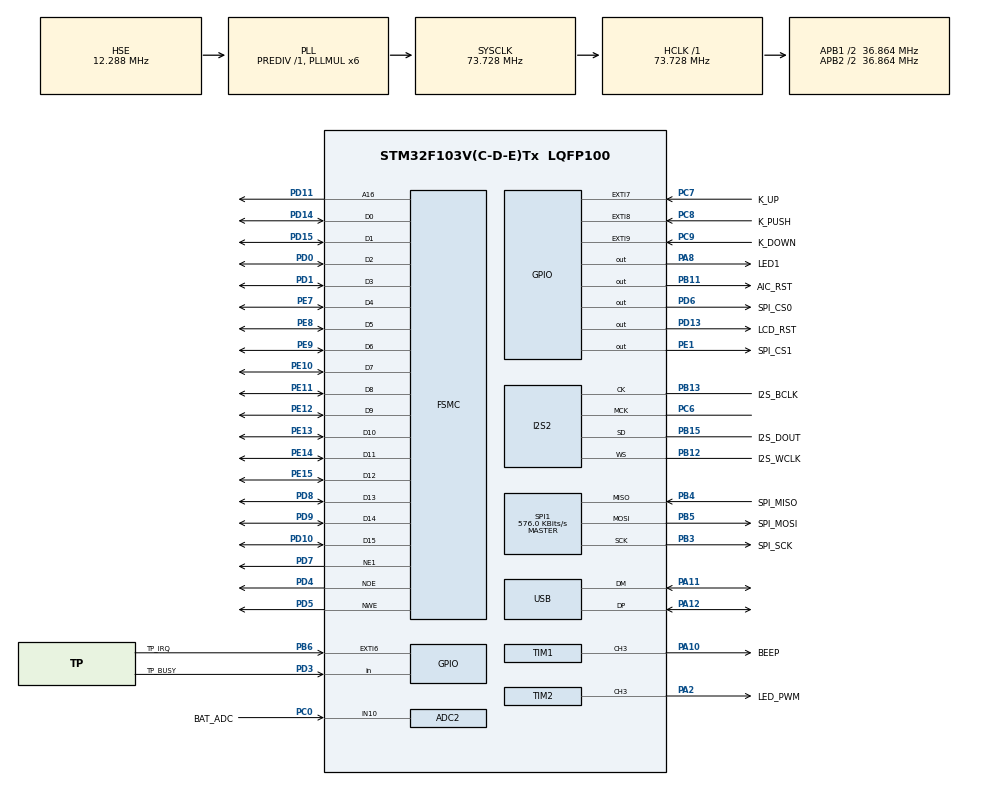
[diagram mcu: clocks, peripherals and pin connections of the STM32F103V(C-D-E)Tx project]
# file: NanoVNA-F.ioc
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ADC1.Channel-4\#ChannelRegularConversion=ADC_CHANNEL_VREFINT
ADC1.NbrOfConversionFlag=1
ADC1.Rank-4\#ChannelRegularConversion=1
ADC1.SamplingTime-4\#ChannelRegularConversion=ADC_SAMPLETIME_7CYCLES_5
ADC1.master=1
ADC2.Channel-0\#ChannelRegularConversion=ADC_CHANNEL_10
ADC2.NbrOfConversionFlag=1
ADC2.Rank-0\#ChannelRegularConversion=1
ADC2.SamplingTime-0\#ChannelRegularConversion=ADC_SAMPLETIME_7CYCLES_5
Dma.Request0=SPI2_RX
Dma.Request1=TIM1_CH3
Dma.Request2=SPI1_TX
Dma.Request3=SPI1_RX
Dma.SPI1_RX.3.Direction=DMA_PERIPH_TO_MEMORY
Dma.SPI1_RX.3.Instance=DMA1_Channel2
Dma.SPI1_RX.3.MemDataAlignment=DMA_MDATAALIGN_BYTE
Dma.SPI1_RX.3.MemInc=DMA_MINC_ENABLE
Dma.SPI1_RX.3.Mode=DMA_NORMAL
Dma.SPI1_RX.3.PeriphDataAlignment=DMA_PDATAALIGN_BYTE
Dma.SPI1_RX.3.PeriphInc=DMA_PINC_DISABLE
Dma.SPI1_RX.3.Priority=DMA_PRIORITY_MEDIUM
Dma.SPI1_TX.2.Direction=DMA_MEMORY_TO_PERIPH
Dma.SPI1_TX.2.Instance=DMA1_Channel3
Dma.SPI1_TX.2.MemDataAlignment=DMA_MDATAALIGN_BYTE
Dma.SPI1_TX.2.MemInc=DMA_MINC_ENABLE
Dma.SPI1_TX.2.Mode=DMA_NORMAL
Dma.SPI1_TX.2.PeriphDataAlignment=DMA_PDATAALIGN_BYTE
Dma.SPI1_TX.2.PeriphInc=DMA_PINC_DISABLE
Dma.SPI1_TX.2.Priority=DMA_PRIORITY_MEDIUM
Dma.SPI2_RX.0.Direction=DMA_PERIPH_TO_MEMORY
Dma.SPI2_RX.0.Instance=DMA1_Channel4
Dma.SPI2_RX.0.MemDataAlignment=DMA_MDATAALIGN_HALFWORD
Dma.SPI2_RX.0.MemInc=DMA_MINC_ENABLE
Dma.SPI2_RX.0.Mode=DMA_CIRCULAR
Dma.SPI2_RX.0.PeriphDataAlignment=DMA_PDATAALIGN_HALFWORD
Dma.SPI2_RX.0.PeriphInc=DMA_PINC_DISABLE
Dma.SPI2_RX.0.Priority=DMA_PRIORITY_LOW
Dma.TIM1_CH3.1.Direction=DMA_MEMORY_TO_PERIPH
Dma.TIM1_CH3.1.Instance=DMA1_Channel6
Dma.TIM1_CH3.1.MemDataAlignment=DMA_MDATAALIGN_BYTE
Dma.TIM1_CH3.1.MemInc=DMA_MINC_ENABLE
Dma.TIM1_CH3.1.Mode=DMA_NORMAL
Dma.TIM1_CH3.1.PeriphDataAlignment=DMA_PDATAALIGN_BYTE
Dma.TIM1_CH3.1.PeriphInc=DMA_PINC_DISABLE
Dma.TIM1_CH3.1.Priority=DMA_PRIORITY_LOW
FATFS._CODE_PAGE=437
FATFS._USE_LFN=2
FREERTOS.Tasks01=Task001,0,512,StartTask001,Default,NULL,Dynamic,NULL,NULL;TaskCmd,0,512,StartTaskCmd,Default,NULL,Dynamic,NULL,NULL
FREERTOS.configGENERATE_RUN_TIME_STATS=1
FREERTOS.configTOTAL_HEAP_SIZE=12288
FREERTOS.configUSE_RECURSIVE_MUTEXES=1
FREERTOS.configUSE_STATS_FORMATTING_FUNCTIONS=1
FREERTOS.configUSE_TRACE_FACILITY=1
FSMC.AddressSetupTime1=2
FSMC.BusTurnAroundDuration1=0
FSMC.DataSetupTime1=5
I2S2.AudioFreq=I2S_AUDIOFREQ_48K
I2S2.ErrorAudioFreq=0.0 %
I2S2.Instance=SPI$Index
I2S2.MCLKOutput=I2S_MCLKOUTPUT_ENABLE
I2S2.RealAudioFreq=48.0 KHz
I2S2.VirtualMode=I2S_MODE_MASTER
Mcu.Family=STM32F1
Mcu.Name=STM32F103V(C-D-E)Tx
Mcu.Package=LQFP100
NVIC.DMA1_Channel2_IRQn=true\:5\:0\:false\:false\:true\:true\:false
NVIC.DMA1_Channel3_IRQn=true\:5\:0\:false\:false\:true\:true\:false
NVIC.DMA1_Channel4_IRQn=true\:5\:0\:false\:false\:true\:true\:false
NVIC.DMA1_Channel6_IRQn=true\:5\:0\:false\:false\:true\:true\:false
NVIC.EXTI9_5_IRQn=true\:5\:0\:false\:false\:true\:true\:true
NVIC.PriorityGroup=NVIC_PRIORITYGROUP_4
NVIC.TIM4_IRQn=true\:0\:0\:false\:false\:true\:false\:false
NVIC.TimeBase=TIM4_IRQn
NVIC.TimeBaseIP=TIM4
NVIC.USB_LP_CAN1_RX0_IRQn=true\:5\:0\:false\:false\:true\:true\:false
OSC_IN.Mode=HSE-External-Oscillator
OSC_IN.Signal=RCC_OSC_IN
OSC_OUT.Mode=HSE-External-Oscillator
OSC_OUT.Signal=RCC_OSC_OUT
PA10.GPIO_Label=BEEP
PA10.Signal=S_TIM1_CH3
PA11.Mode=Device
PA11.Signal=USB_DM
PA12.Mode=Device
PA12.Signal=USB_DP
PA13.Mode=Serial_Wire
PA13.Signal=SYS_JTMS-SWDIO
PA14.Mode=Serial_Wire
PA14.Signal=SYS_JTCK-SWCLK
PA2.GPIO_Label=LED_PWM
PA2.Signal=S_TIM2_CH3
PA8.GPIO_Label=LED1
PA8.Signal=GPIO_Output
PB11.GPIO_Label=AIC_RST
PB11.Signal=GPIO_Output
PB12.GPIO_Label=I2S_WCLK
PB12.Mode=Half_Duplex_Master_RX
PB12.Signal=I2S2_WS
PB13.GPIO_Label=I2S_BCLK
PB13.Mode=Half_Duplex_Master_RX
PB13.Signal=I2S2_CK
PB15.GPIO_Label=I2S_DOUT
PB15.Mode=Half_Duplex_Master_RX
PB15.Signal=I2S2_SD
PB3.GPIO_Label=SPI_SCK
PB3.Mode=Full_Duplex_Master
PB3.Signal=SPI1_SCK
PB4.GPIO_Label=SPI_MISO
PB4.Mode=Full_Duplex_Master
PB4.Signal=SPI1_MISO
PB5.GPIO_Label=SPI_MOSI
PB5.Mode=Full_Duplex_Master
PB5.Signal=SPI1_MOSI
PB6.GPIO_Label=TP_IRQ
PB6.GPIO_ModeDefaultEXTI=GPIO_MODE_IT_FALLING
PB6.GPIO_PuPd=GPIO_PULLUP
PB6.Signal=GPXTI6
PC0.GPIO_Label=BAT_ADC
PC0.Signal=ADCx_IN10
PC6.Mode=Master_Clock_Activated
PC6.Signal=I2S2_MCK
PC7.GPIO_Label=K_UP
PC7.GPIO_PuPd=GPIO_PULLDOWN
PC7.Signal=GPXTI7
PC8.GPIO_Label=K_PUSH
PC8.GPIO_PuPd=GPIO_PULLDOWN
PC8.Signal=GPXTI8
PC9.GPIO_Label=K_DOWN
PC9.GPIO_PuPd=GPIO_PULLDOWN
PC9.Signal=GPXTI9
PD0.Mode=16b-d1
PD0.Signal=FSMC_D2
PD1.Mode=16b-d1
PD1.Signal=FSMC_D3
PD10.Mode=16b-d1
PD10.Signal=FSMC_D15
PD11.Mode=A16_1
PD11.Signal=FSMC_A16
PD13.GPIO_Label=LCD_RST
PD13.Signal=GPIO_Output
PD14.Mode=16b-d1
PD14.Signal=FSMC_D0
PD15.Mode=16b-d1
PD15.Signal=FSMC_D1
PD3.GPIO_Label=TP_BUSY
PD3.Signal=GPIO_Input
PD4.Mode=Lcd1
PD4.Signal=FSMC_NOE
PD5.Mode=Lcd1
PD5.Signal=FSMC_NWE
PD6.GPIO_Label=SPI_CS0
PD6.PinState=GPIO_PIN_SET
PD6.Signal=GPIO_Output
PD7.Mode=NorPsramChipSelect1_1
PD7.Signal=FSMC_NE1
PD8.Mode=16b-d1
PD8.Signal=FSMC_D13
PD9.Mode=16b-d1
PD9.Signal=FSMC_D14
PE1.GPIO_Label=SPI_CS1
PE1.PinState=GPIO_PIN_SET
PE1.Signal=GPIO_Output
PE10.Mode=16b-d1
PE10.Signal=FSMC_D7
PE11.Mode=16b-d1
PE11.Signal=FSMC_D8
PE12.Mode=16b-d1
PE12.Signal=FSMC_D9
PE13.Mode=16b-d1
PE13.Signal=FSMC_D10
PE14.Mode=16b-d1
PE14.Signal=FSMC_D11
PE15.Mode=16b-d1
PE15.Signal=FSMC_D12
PE7.Mode=16b-d1
PE7.Signal=FSMC_D4
PE8.Mode=16b-d1
PE8.Signal=FSMC_D5
PE9.Mode=16b-d1
PE9.Signal=FSMC_D6
ProjectManager.HeapSize=0x1000
ProjectManager.StackSize=0x1000
ProjectManager.TargetToolchain=MDK-ARM V5
RCC.ADCPresc=RCC_ADCPCLK2_DIV8
RCC.AHBFreq_Value=73728000
RCC.APB1CLKDivider=RCC_HCLK_DIV2
RCC.APB1Freq_Value=36864000
RCC.APB1TimFreq_Value=73728000
RCC.APB2CLKDivider=RCC_HCLK_DIV2
RCC.APB2Freq_Value=36864000
RCC.APB2TimFreq_Value=73728000
RCC.HCLKFreq_Value=73728000
RCC.HSE_Timout=5000
RCC.HSE_VALUE=12288000
RCC.PLLMUL=RCC_PLL_MUL6
RCC.SYSCLKFreq_VALUE=73728000
RCC.SYSCLKSource=RCC_SYSCLKSOURCE_PLLCLK
RCC.USBFreq_Value=49152000
RCC.USBPrescaler=RCC_USBCLKSOURCE_PLL_DIV1_5
SH.ADCx_IN10.0=ADC1_IN10
SH.ADCx_IN10.1=ADC2_IN10,IN10
SH.S_TIM1_CH3.0=TIM1_CH3,PWM Generation3 CH3
SH.S_TIM2_CH3.0=TIM2_CH3,PWM Generation3 CH3
SPI1.BaudRatePrescaler=SPI_BAUDRATEPRESCALER_64
SPI1.CRCCalculation=SPI_CRCCALCULATION_DISABLE
SPI1.CalculateBaudRate=576.0 KBits/s
SPI1.Direction=SPI_DIRECTION_2LINES
SPI1.Mode=SPI_MODE_MASTER
SPI1.VirtualType=VM_MASTER
TIM1.Channel-PWM\ Generation3\ CH3=TIM_CHANNEL_3
TIM1.Period=255
TIM1.Prescaler=35
TIM1.Pulse-PWM\ Generation3\ CH3=127
TIM2.Channel-PWM\ Generation3\ CH3=TIM_CHANNEL_3
TIM2.Period=1999
TIM2.Prescaler=71
TIM2.Pulse-PWM\ Generation3\ CH3=1000
USB.ep0_mps=DEP0CTL_MPS_64
USB_DEVICE.CLASS_NAME_FS=CDC
USB_DEVICE.MANUFACTURER_STRING=SYSJOINT
USB_DEVICE.PRODUCT_STRING_CDC_FS=NanoVNA-F Virtual COMPort
USB_DEVICE.VirtualMode=Cdc
USB_DEVICE.VirtualModeFS=Cdc_FS
VP_ADC1_Vref_Input.Mode=IN-Vrefint
VP_FATFS_VS_Generic.Mode=User_defined
VP_FREERTOS_VS_ENABLE.Mode=Enabled
VP_SYS_VS_tim4.Mode=TIM4
VP_USB_DEVICE_VS_USB_DEVICE_CDC_FS.Mode=CDC_FS
board=custom

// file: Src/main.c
/**
  ******************************************************************************
  * @file           : main.c
  * @brief          : Main program body
  ******************************************************************************
  * This notice applies to any and all portions of this file
  * that are not between comment pairs USER CODE BEGIN and
  * USER CODE END. Other portions of this file, whether
  * inserted by the user or by software development tools
  * are owned by their respective copyright owners.
  *
  * Copyright (c) 2019 STMicroelectronics International N.V.
  * All rights reserved.
  *
  * Redistribution and use in source and binary forms, with or without
  * modification, are permitted, provided that the following conditions are met:
  *
  * 1. Redistribution of source code must retain the above copyright notice,
  *    this list of conditions and the following disclaimer.
  * 2. Redistributions in binary form must reproduce the above copyright notice,
  *    this list of conditions and the following disclaimer in the documentation
  *    and/or other materials provided with the distribution.
  * 3. Neither the name of STMicroelectronics nor the names of other
  *    contributors to this software may be used to endorse or promote products
  *    derived from this software without specific written permission.
  * 4. This software, including modifications and/or derivative works of this
  *    software, must execute solely and exclusively on microcontroller or
  *    microprocessor devices manufactured by or for STMicroelectronics.
  * 5. Redistribution and use of this software other than as permitted under
  *    this license is void and will automatically terminate your rights under
  *    this license.
  *
  * THIS SOFTWARE IS PROVIDED BY STMICROELECTRONICS AND CONTRIBUTORS "AS IS"
  * AND ANY EXPRESS, IMPLIED OR STATUTORY WARRANTIES, INCLUDING, BUT NOT
  * LIMITED TO, THE IMPLIED WARRANTIES OF MERCHANTABILITY, FITNESS FOR A
  * PARTICULAR PURPOSE AND NON-INFRINGEMENT OF THIRD PARTY INTELLECTUAL PROPERTY
  * RIGHTS ARE DISCLAIMED TO THE FULLEST EXTENT PERMITTED BY LAW. IN NO EVENT
  * SHALL STMICROELECTRONICS OR CONTRIBUTORS BE LIABLE FOR ANY DIRECT, INDIRECT,
  * INCIDENTAL, SPECIAL, EXEMPLARY, OR CONSEQUENTIAL DAMAGES (INCLUDING, BUT NOT
  * LIMITED TO, PROCUREMENT OF SUBSTITUTE GOODS OR SERVICES; LOSS OF USE, DATA,
  * OR PROFITS; OR BUSINESS INTERRUPTION) HOWEVER CAUSED AND ON ANY THEORY OF
  * LIABILITY, WHETHER IN CONTRACT, STRICT LIABILITY, OR TORT (INCLUDING
  * NEGLIGENCE OR OTHERWISE) ARISING IN ANY WAY OUT OF THE USE OF THIS SOFTWARE,
  * EVEN IF ADVISED OF THE POSSIBILITY OF SUCH DAMAGE.
  *
  ******************************************************************************
  */
#include "main.h"
#include "stm32f1xx_hal.h"
#include "cmsis_os.h"
#include "fatfs.h"
#include "usb_device.h"

/* USER CODE BEGIN Includes */
#include "board.h"
/* USER CODE END Includes */

ADC_HandleTypeDef hadc1;
ADC_HandleTypeDef hadc2;

I2S_HandleTypeDef hi2s2;
DMA_HandleTypeDef hdma_spi2_rx;

SPI_HandleTypeDef hspi1;
DMA_HandleTypeDef hdma_spi1_tx;
DMA_HandleTypeDef hdma_spi1_rx;

TIM_HandleTypeDef htim1;
TIM_HandleTypeDef htim2;
DMA_HandleTypeDef hdma_tim1_ch3;

SRAM_HandleTypeDef hsram1;

osThreadId Task001Handle;
osThreadId TaskCmdHandle;

/* USER CODE BEGIN PV */
/* Private variables ---------------------------------------------------------*/
FIL fil;
UINT size;
char callsign[11];
/* USER CODE END PV */

void SystemClock_Config(void);
static void MX_GPIO_Init(void);
static void MX_DMA_Init(void);
static void MX_FSMC_Init(void);
static void MX_I2S2_Init(void);
static void MX_TIM1_Init(void);
static void MX_SPI1_Init(void);
static void MX_TIM2_Init(void);
static void MX_ADC2_Init(void);
static void MX_ADC1_Init(void);
void StartTask001(void const * argument);
void StartTaskCmd(void const * argument);

void HAL_TIM_MspPostInit(TIM_HandleTypeDef *htim);

/* USER CODE BEGIN PFP */
/* Private function prototypes -----------------------------------------------*/
extern void app_init(void);
extern void app_loop(void);
extern void cmd_init(void);
extern void cmd_loop(void);

static void MY_USBDP_IO_Init(void)
{
  GPIO_InitTypeDef GPIO_InitStruct;

  HAL_GPIO_WritePin(GPIOC, GPIO_PIN_10, GPIO_PIN_SET);

  GPIO_InitStruct.Pin = GPIO_PIN_10;
  GPIO_InitStruct.Mode = GPIO_MODE_OUTPUT_PP;
  GPIO_InitStruct.Pull = GPIO_PULLUP;
  GPIO_InitStruct.Speed = GPIO_SPEED_FREQ_HIGH;
  HAL_GPIO_Init(GPIOC, &GPIO_InitStruct);
}

static void MX_SPI1_Init_SF(void)
{

  /* SPI1 parameter configuration*/
  hspi1.Instance = SPI1;
  hspi1.Init.Mode = SPI_MODE_MASTER;
  hspi1.Init.Direction = SPI_DIRECTION_2LINES;
  hspi1.Init.DataSize = SPI_DATASIZE_8BIT;
  hspi1.Init.CLKPolarity = SPI_POLARITY_HIGH;
  hspi1.Init.CLKPhase = SPI_PHASE_2EDGE;
  hspi1.Init.NSS = SPI_NSS_SOFT;
  hspi1.Init.BaudRatePrescaler = SPI_BAUDRATEPRESCALER_2;
  hspi1.Init.FirstBit = SPI_FIRSTBIT_MSB;
  hspi1.Init.TIMode = SPI_TIMODE_DISABLE;
  hspi1.Init.CRCCalculation = SPI_CRCCALCULATION_DISABLE;
  hspi1.Init.CRCPolynomial = 10;
  if (HAL_SPI_Init(&hspi1) != HAL_OK)
  {
    _Error_Handler(__FILE__, __LINE__);
  }

}
/* USER CODE END PFP */

int main(void)
{
  /* USER CODE BEGIN 1 */
  SCB->VTOR = FLASH_BASE | FLASH_BOOT_SIZE;
  /* USER CODE END 1 */

  /* MCU Configuration----------------------------------------------------------*/

  /* Reset of all peripherals, Initializes the Flash interface and the Systick. */
  HAL_Init();

  /* Configure the system clock */
  SystemClock_Config();

  /* Initialize all configured peripherals */
  MX_GPIO_Init();
  MX_DMA_Init();
  MX_FSMC_Init();
  MX_I2S2_Init();
  MX_TIM1_Init();
  MX_TIM2_Init();
  MX_ADC2_Init();
  MX_ADC1_Init();
  /* USER CODE BEGIN 2 */
  __enable_irq();
  /* USER CODE END 2 */

  /* Create the thread(s) */
  /* definition and creation of Task001 */
  osThreadDef(Task001, StartTask001, osPriorityNormal, 0, 512);
  Task001Handle = osThreadCreate(osThread(Task001), NULL);

  /* definition and creation of TaskCmd */
  osThreadDef(TaskCmd, StartTaskCmd, osPriorityNormal, 0, 512);
  TaskCmdHandle = osThreadCreate(osThread(TaskCmd), NULL);

  /* Start scheduler */
  osKernelStart();

  /* We should never get here as control is now taken by the scheduler */

  /* Infinite loop */
  while (1)
  {

  }

}

void SystemClock_Config(void)
{

  RCC_OscInitTypeDef RCC_OscInitStruct;
  RCC_ClkInitTypeDef RCC_ClkInitStruct;
  RCC_PeriphCLKInitTypeDef PeriphClkInit;

    /**Initializes the CPU, AHB and APB busses clocks
    */
  RCC_OscInitStruct.OscillatorType = RCC_OSCILLATORTYPE_HSE;
  RCC_OscInitStruct.HSEState = RCC_HSE_ON;
  RCC_OscInitStruct.HSEPredivValue = RCC_HSE_PREDIV_DIV1;
  RCC_OscInitStruct.HSIState = RCC_HSI_ON;
  RCC_OscInitStruct.PLL.PLLState = RCC_PLL_ON;
  RCC_OscInitStruct.PLL.PLLSource = RCC_PLLSOURCE_HSE;
  RCC_OscInitStruct.PLL.PLLMUL = RCC_PLL_MUL6;
  if (HAL_RCC_OscConfig(&RCC_OscInitStruct) != HAL_OK)
  {
    _Error_Handler(__FILE__, __LINE__);
  }

    /**Initializes the CPU, AHB and APB busses clocks
    */
  RCC_ClkInitStruct.ClockType = RCC_CLOCKTYPE_HCLK|RCC_CLOCKTYPE_SYSCLK
                              |RCC_CLOCKTYPE_PCLK1|RCC_CLOCKTYPE_PCLK2;
  RCC_ClkInitStruct.SYSCLKSource = RCC_SYSCLKSOURCE_PLLCLK;
  RCC_ClkInitStruct.AHBCLKDivider = RCC_SYSCLK_DIV1;
  RCC_ClkInitStruct.APB1CLKDivider = RCC_HCLK_DIV2;
  RCC_ClkInitStruct.APB2CLKDivider = RCC_HCLK_DIV2;

  if (HAL_RCC_ClockConfig(&RCC_ClkInitStruct, FLASH_LATENCY_2) != HAL_OK)
  {
    _Error_Handler(__FILE__, __LINE__);
  }

  PeriphClkInit.PeriphClockSelection = RCC_PERIPHCLK_ADC|RCC_PERIPHCLK_I2S2
                              |RCC_PERIPHCLK_USB;
  PeriphClkInit.AdcClockSelection = RCC_ADCPCLK2_DIV8;
  PeriphClkInit.I2s2ClockSelection = RCC_I2S2CLKSOURCE_SYSCLK;
  PeriphClkInit.UsbClockSelection = RCC_USBCLKSOURCE_PLL_DIV1_5;
  if (HAL_RCCEx_PeriphCLKConfig(&PeriphClkInit) != HAL_OK)
  {
    _Error_Handler(__FILE__, __LINE__);
  }

    /**Configure the Systick interrupt time
    */
  HAL_SYSTICK_Config(HAL_RCC_GetHCLKFreq()/1000);

    /**Configure the Systick
    */
  HAL_SYSTICK_CLKSourceConfig(SYSTICK_CLKSOURCE_HCLK);

  /* SysTick_IRQn interrupt configuration */
  HAL_NVIC_SetPriority(SysTick_IRQn, 15, 0);
}

/* ADC1 init function */
static void MX_ADC1_Init(void)
{

  ADC_ChannelConfTypeDef sConfig;

    /**Common config
    */
  hadc1.Instance = ADC1;
  hadc1.Init.ScanConvMode = ADC_SCAN_DISABLE;
  hadc1.Init.ContinuousConvMode = DISABLE;
  hadc1.Init.DiscontinuousConvMode = DISABLE;
  hadc1.Init.ExternalTrigConv = ADC_SOFTWARE_START;
  hadc1.Init.DataAlign = ADC_DATAALIGN_RIGHT;
  hadc1.Init.NbrOfConversion = 1;
  if (HAL_ADC_Init(&hadc1) != HAL_OK)
  {
    _Error_Handler(__FILE__, __LINE__);
  }

    /**Configure Regular Channel
    */
  sConfig.Channel = ADC_CHANNEL_VREFINT;
  sConfig.Rank = ADC_REGULAR_RANK_1;
  sConfig.SamplingTime = ADC_SAMPLETIME_41CYCLES_5;
  if (HAL_ADC_ConfigChannel(&hadc1, &sConfig) != HAL_OK)
  {
    _Error_Handler(__FILE__, __LINE__);
  }

}

/* ADC2 init function */
static void MX_ADC2_Init(void)
{

  ADC_ChannelConfTypeDef sConfig;

    /**Common config
    */
  hadc2.Instance = ADC2;
  hadc2.Init.ScanConvMode = ADC_SCAN_DISABLE;
  hadc2.Init.ContinuousConvMode = DISABLE;
  hadc2.Init.DiscontinuousConvMode = DISABLE;
  hadc2.Init.ExternalTrigConv = ADC_SOFTWARE_START;
  hadc2.Init.DataAlign = ADC_DATAALIGN_RIGHT;
  hadc2.Init.NbrOfConversion = 1;
  if (HAL_ADC_Init(&hadc2) != HAL_OK)
  {
    _Error_Handler(__FILE__, __LINE__);
  }

    /**Configure Regular Channel
    */
  sConfig.Channel = ADC_CHANNEL_10;
  sConfig.Rank = ADC_REGULAR_RANK_1;
  sConfig.SamplingTime = ADC_SAMPLETIME_41CYCLES_5;
  if (HAL_ADC_ConfigChannel(&hadc2, &sConfig) != HAL_OK)
  {
    _Error_Handler(__FILE__, __LINE__);
  }

}

/* I2S2 init function */
static void MX_I2S2_Init(void)
{

  hi2s2.Instance = SPI2;
  hi2s2.Init.Mode = I2S_MODE_MASTER_RX;
  hi2s2.Init.Standard = I2S_STANDARD_PHILIPS;
  hi2s2.Init.DataFormat = I2S_DATAFORMAT_16B;
  hi2s2.Init.MCLKOutput = I2S_MCLKOUTPUT_ENABLE;
  hi2s2.Init.AudioFreq = I2S_AUDIOFREQ_48K;
  hi2s2.Init.CPOL = I2S_CPOL_LOW;
  if (HAL_I2S_Init(&hi2s2) != HAL_OK)
  {
    _Error_Handler(__FILE__, __LINE__);
  }

}

/* SPI1 init function */
static void MX_SPI1_Init(void)
{

  /* SPI1 parameter configuration*/
  hspi1.Instance = SPI1;
  hspi1.Init.Mode = SPI_MODE_MASTER;
  hspi1.Init.Direction = SPI_DIRECTION_2LINES;
  hspi1.Init.DataSize = SPI_DATASIZE_8BIT;
  hspi1.Init.CLKPolarity = SPI_POLARITY_LOW;
  hspi1.Init.CLKPhase = SPI_PHASE_1EDGE;
  hspi1.Init.NSS = SPI_NSS_SOFT;
  hspi1.Init.BaudRatePrescaler = SPI_BAUDRATEPRESCALER_64;
  hspi1.Init.FirstBit = SPI_FIRSTBIT_MSB;
  hspi1.Init.TIMode = SPI_TIMODE_DISABLE;
  hspi1.Init.CRCCalculation = SPI_CRCCALCULATION_DISABLE;
  hspi1.Init.CRCPolynomial = 10;
  if (HAL_SPI_Init(&hspi1) != HAL_OK)
  {
    _Error_Handler(__FILE__, __LINE__);
  }

}

/* TIM1 init function */
static void MX_TIM1_Init(void)
{

  TIM_MasterConfigTypeDef sMasterConfig;
  TIM_OC_InitTypeDef sConfigOC;
  TIM_BreakDeadTimeConfigTypeDef sBreakDeadTimeConfig;

  htim1.Instance = TIM1;
  htim1.Init.Prescaler = 280;
  htim1.Init.CounterMode = TIM_COUNTERMODE_UP;
  htim1.Init.Period = 255;
  htim1.Init.ClockDivision = TIM_CLOCKDIVISION_DIV1;
  htim1.Init.RepetitionCounter = 0;
  htim1.Init.AutoReloadPreload = TIM_AUTORELOAD_PRELOAD_DISABLE;
  if (HAL_TIM_PWM_Init(&htim1) != HAL_OK)
  {
    _Error_Handler(__FILE__, __LINE__);
  }

  sMasterConfig.MasterOutputTrigger = TIM_TRGO_RESET;
  sMasterConfig.MasterSlaveMode = TIM_MASTERSLAVEMODE_DISABLE;
  if (HAL_TIMEx_MasterConfigSynchronization(&htim1, &sMasterConfig) != HAL_OK)
  {
    _Error_Handler(__FILE__, __LINE__);
  }

  sConfigOC.OCMode = TIM_OCMODE_PWM1;
  sConfigOC.Pulse = 127;
  sConfigOC.OCPolarity = TIM_OCPOLARITY_HIGH;
  sConfigOC.OCNPolarity = TIM_OCNPOLARITY_HIGH;
  sConfigOC.OCFastMode = TIM_OCFAST_DISABLE;
  sConfigOC.OCIdleState = TIM_OCIDLESTATE_RESET;
  sConfigOC.OCNIdleState = TIM_OCNIDLESTATE_RESET;
  if (HAL_TIM_PWM_ConfigChannel(&htim1, &sConfigOC, TIM_CHANNEL_3) != HAL_OK)
  {
    _Error_Handler(__FILE__, __LINE__);
  }

  sBreakDeadTimeConfig.OffStateRunMode = TIM_OSSR_DISABLE;
  sBreakDeadTimeConfig.OffStateIDLEMode = TIM_OSSI_DISABLE;
  sBreakDeadTimeConfig.LockLevel = TIM_LOCKLEVEL_OFF;
  sBreakDeadTimeConfig.DeadTime = 0;
  sBreakDeadTimeConfig.BreakState = TIM_BREAK_DISABLE;
  sBreakDeadTimeConfig.BreakPolarity = TIM_BREAKPOLARITY_HIGH;
  sBreakDeadTimeConfig.AutomaticOutput = TIM_AUTOMATICOUTPUT_DISABLE;
  if (HAL_TIMEx_ConfigBreakDeadTime(&htim1, &sBreakDeadTimeConfig) != HAL_OK)
  {
    _Error_Handler(__FILE__, __LINE__);
  }

  HAL_TIM_MspPostInit(&htim1);

}

/* TIM2 init function */
static void MX_TIM2_Init(void)
{

  TIM_MasterConfigTypeDef sMasterConfig;
  TIM_OC_InitTypeDef sConfigOC;

  htim2.Instance = TIM2;
  htim2.Init.Prescaler = 71;
  htim2.Init.CounterMode = TIM_COUNTERMODE_UP;
  htim2.Init.Period = 1999;
  htim2.Init.ClockDivision = TIM_CLOCKDIVISION_DIV1;
  htim2.Init.AutoReloadPreload = TIM_AUTORELOAD_PRELOAD_DISABLE;
  if (HAL_TIM_PWM_Init(&htim2) != HAL_OK)
  {
    _Error_Handler(__FILE__, __LINE__);
  }

  sMasterConfig.MasterOutputTrigger = TIM_TRGO_RESET;
  sMasterConfig.MasterSlaveMode = TIM_MASTERSLAVEMODE_DISABLE;
  if (HAL_TIMEx_MasterConfigSynchronization(&htim2, &sMasterConfig) != HAL_OK)
  {
    _Error_Handler(__FILE__, __LINE__);
  }

  sConfigOC.OCMode = TIM_OCMODE_PWM1;
  sConfigOC.Pulse = 1000;
  sConfigOC.OCPolarity = TIM_OCPOLARITY_HIGH;
  sConfigOC.OCFastMode = TIM_OCFAST_DISABLE;
  if (HAL_TIM_PWM_ConfigChannel(&htim2, &sConfigOC, TIM_CHANNEL_3) != HAL_OK)
  {
    _Error_Handler(__FILE__, __LINE__);
  }

  HAL_TIM_MspPostInit(&htim2);

}

static void MX_DMA_Init(void)
{
  /* DMA controller clock enable */
  __HAL_RCC_DMA1_CLK_ENABLE();

  /* DMA interrupt init */
  /* DMA1_Channel2_IRQn interrupt configuration */
  HAL_NVIC_SetPriority(DMA1_Channel2_IRQn, 5, 0);
  HAL_NVIC_EnableIRQ(DMA1_Channel2_IRQn);
  /* DMA1_Channel3_IRQn interrupt configuration */
  HAL_NVIC_SetPriority(DMA1_Channel3_IRQn, 5, 0);
  HAL_NVIC_EnableIRQ(DMA1_Channel3_IRQn);
  /* DMA1_Channel4_IRQn interrupt configuration */
  HAL_NVIC_SetPriority(DMA1_Channel4_IRQn, 5, 0);
  HAL_NVIC_EnableIRQ(DMA1_Channel4_IRQn);
  /* DMA1_Channel6_IRQn interrupt configuration */
  HAL_NVIC_SetPriority(DMA1_Channel6_IRQn, 5, 0);
  HAL_NVIC_EnableIRQ(DMA1_Channel6_IRQn);

}

/** Configure pins as
        * Analog
        * Input
        * Output
        * EVENT_OUT
        * EXTI
*/
static void MX_GPIO_Init(void)
{

  GPIO_InitTypeDef GPIO_InitStruct;

  /* GPIO Ports Clock Enable */
  __HAL_RCC_GPIOC_CLK_ENABLE();
  __HAL_RCC_GPIOA_CLK_ENABLE();
  __HAL_RCC_GPIOE_CLK_ENABLE();
  __HAL_RCC_GPIOB_CLK_ENABLE();
  __HAL_RCC_GPIOD_CLK_ENABLE();

  /*Configure GPIO pin Output Level */
  HAL_GPIO_WritePin(AIC_RST_GPIO_Port, AIC_RST_Pin, GPIO_PIN_RESET);

  /*Configure GPIO pin Output Level */
  HAL_GPIO_WritePin(LCD_RST_GPIO_Port, LCD_RST_Pin, GPIO_PIN_RESET);

  /*Configure GPIO pin Output Level */
  HAL_GPIO_WritePin(LED1_GPIO_Port, LED1_Pin, GPIO_PIN_RESET);

  /*Configure GPIO pin Output Level */
  HAL_GPIO_WritePin(SPI_CS0_GPIO_Port, SPI_CS0_Pin, GPIO_PIN_SET);

  /*Configure GPIO pin Output Level */
  HAL_GPIO_WritePin(SPI_CS1_GPIO_Port, SPI_CS1_Pin, GPIO_PIN_SET);

  /*Configure GPIO pin : AIC_RST_Pin */
  GPIO_InitStruct.Pin = AIC_RST_Pin;
  GPIO_InitStruct.Mode = GPIO_MODE_OUTPUT_PP;
  GPIO_InitStruct.Pull = GPIO_NOPULL;
  GPIO_InitStruct.Speed = GPIO_SPEED_FREQ_LOW;
  HAL_GPIO_Init(AIC_RST_GPIO_Port, &GPIO_InitStruct);

  /*Configure GPIO pins : LCD_RST_Pin SPI_CS0_Pin */
  GPIO_InitStruct.Pin = LCD_RST_Pin|SPI_CS0_Pin;
  GPIO_InitStruct.Mode = GPIO_MODE_OUTPUT_PP;
  GPIO_InitStruct.Pull = GPIO_NOPULL;
  GPIO_InitStruct.Speed = GPIO_SPEED_FREQ_LOW;
  HAL_GPIO_Init(GPIOD, &GPIO_InitStruct);

  /*Configure GPIO pins : K_UP_Pin K_PUSH_Pin K_DOWN_Pin */
  GPIO_InitStruct.Pin = K_UP_Pin|K_PUSH_Pin|K_DOWN_Pin;
  GPIO_InitStruct.Mode = GPIO_MODE_IT_RISING;
  GPIO_InitStruct.Pull = GPIO_PULLDOWN;
  HAL_GPIO_Init(GPIOC, &GPIO_InitStruct);

  /*Configure GPIO pin : LED1_Pin */
  GPIO_InitStruct.Pin = LED1_Pin;
  GPIO_InitStruct.Mode = GPIO_MODE_OUTPUT_PP;
  GPIO_InitStruct.Pull = GPIO_NOPULL;
  GPIO_InitStruct.Speed = GPIO_SPEED_FREQ_LOW;
  HAL_GPIO_Init(LED1_GPIO_Port, &GPIO_InitStruct);

  /*Configure GPIO pin : TP_BUSY_Pin */
  GPIO_InitStruct.Pin = TP_BUSY_Pin;
  GPIO_InitStruct.Mode = GPIO_MODE_INPUT;
  GPIO_InitStruct.Pull = GPIO_NOPULL;
  HAL_GPIO_Init(TP_BUSY_GPIO_Port, &GPIO_InitStruct);

  /*Configure GPIO pin : TP_IRQ_Pin */
  GPIO_InitStruct.Pin = TP_IRQ_Pin;
  GPIO_InitStruct.Mode = GPIO_MODE_IT_FALLING;
  GPIO_InitStruct.Pull = GPIO_PULLUP;
  HAL_GPIO_Init(TP_IRQ_GPIO_Port, &GPIO_InitStruct);

  /*Configure GPIO pin : SPI_CS1_Pin */
  GPIO_InitStruct.Pin = SPI_CS1_Pin;
  GPIO_InitStruct.Mode = GPIO_MODE_OUTPUT_PP;
  GPIO_InitStruct.Pull = GPIO_NOPULL;
  GPIO_InitStruct.Speed = GPIO_SPEED_FREQ_LOW;
  HAL_GPIO_Init(SPI_CS1_GPIO_Port, &GPIO_InitStruct);

  /* EXTI interrupt init*/
  HAL_NVIC_SetPriority(EXTI9_5_IRQn, 5, 0);
  HAL_NVIC_EnableIRQ(EXTI9_5_IRQn);

}

/* FSMC initialization function */
static void MX_FSMC_Init(void)
{
  FSMC_NORSRAM_TimingTypeDef Timing;

  /** Perform the SRAM1 memory initialization sequence
  */
  hsram1.Instance = FSMC_NORSRAM_DEVICE;
  hsram1.Extended = FSMC_NORSRAM_EXTENDED_DEVICE;
  /* hsram1.Init */
  hsram1.Init.NSBank = FSMC_NORSRAM_BANK1;
  hsram1.Init.DataAddressMux = FSMC_DATA_ADDRESS_MUX_DISABLE;
  hsram1.Init.MemoryType = FSMC_MEMORY_TYPE_NOR;
  hsram1.Init.MemoryDataWidth = FSMC_NORSRAM_MEM_BUS_WIDTH_16;
  hsram1.Init.BurstAccessMode = FSMC_BURST_ACCESS_MODE_DISABLE;
  hsram1.Init.WaitSignalPolarity = FSMC_WAIT_SIGNAL_POLARITY_LOW;
  hsram1.Init.WrapMode = FSMC_WRAP_MODE_DISABLE;
  hsram1.Init.WaitSignalActive = FSMC_WAIT_TIMING_BEFORE_WS;
  hsram1.Init.WriteOperation = FSMC_WRITE_OPERATION_ENABLE;
  hsram1.Init.WaitSignal = FSMC_WAIT_SIGNAL_DISABLE;
  hsram1.Init.ExtendedMode = FSMC_EXTENDED_MODE_DISABLE;
  hsram1.Init.AsynchronousWait = FSMC_ASYNCHRONOUS_WAIT_DISABLE;
  hsram1.Init.WriteBurst = FSMC_WRITE_BURST_DISABLE;
  /* Timing */
  Timing.AddressSetupTime = 2;
  Timing.AddressHoldTime = 0;
  Timing.DataSetupTime = 5;
  Timing.BusTurnAroundDuration = 0;
  Timing.CLKDivision = 0;
  Timing.DataLatency = 0;
  Timing.AccessMode = FSMC_ACCESS_MODE_B;
  /* ExtTiming */

  if (HAL_SRAM_Init(&hsram1, &Timing, NULL) != HAL_OK)
  {
    _Error_Handler(__FILE__, __LINE__);
  }

  /** Disconnect NADV
  */

  __HAL_AFIO_FSMCNADV_DISCONNECTED();

}

void StartTask001(void const * argument)
{
  /* USER CODE BEGIN 5 */
  MY_USBDP_IO_Init();
  MX_USB_DEVICE_Init();

  MX_SPI1_Init_SF();

  // Register
  MX_FATFS_Init();
  if (retUSER != 0) {
    goto INIT;
  }
  // Mount
  if (f_mount(&USERFatFS, (TCHAR const*)USERPath, 1) != FR_OK) {
    goto INIT;
  }
  // Open Callsign File
  callsign[0] = 0; // (nul == null char) init nul callsign before use

  // consider callsign <"abcdefghil0123456789\r\n\0"|"abcdefghil0123456789\n\0"|"abcdefghil0123456789\0">
  if (f_open(&fil, "callsign.txt", FA_OPEN_EXISTING | FA_READ) == FR_OK) {
    DWORD size;

    f_lseek(&fil, 0);

    if ((size = f_size(&fil)) > 0) {
      UINT cp;

      f_read(&fil, (uint8_t *)callsign, 10, &size); // load max 10 chars

      if (size < 11) { callsign[size] = 0; } // 11 == CMAX+1
      else { callsign[10] = 0; } // truncate at 10th char

      for (cp = 0; callsign[cp] != '\r' && callsign[cp] != '\n' && callsign[cp] != 0; cp++); // lazy eval: find \r or \n or null

      if (callsign[cp] != 0) { callsign[cp] = 0; } // nul terminate else no-op
    } // (size > 0) else no-op
  } // FR_OK else no-op

  f_close(&fil);
  // Unmount
  f_mount(NULL, (TCHAR const*)USERPath, 1);

INIT:
  HAL_SPI_DeInit(&hspi1);
  MX_SPI1_Init();

  app_init();
  /* Infinite loop */
  for(;;)
  {
    app_loop();
    osDelay(1);
  }
  /* USER CODE END 5 */
}

void StartTaskCmd(void const * argument)
{
  /* USER CODE BEGIN StartTaskCmd */
  cmd_init();
  /* Infinite loop */
  for(;;)
  {
    cmd_loop();
    osDelay(1);
  }
  /* USER CODE END StartTaskCmd */
}

void HAL_TIM_PeriodElapsedCallback(TIM_HandleTypeDef *htim)
{
  if (htim->Instance == TIM4) {
    HAL_IncTick();
  }
  /* USER CODE BEGIN Callback 1 */
  beep_tick();
  /* USER CODE END Callback 1 */
}

void _Error_Handler(char *file, int line)
{
  /* USER CODE BEGIN Error_Handler_Debug */
  /* User can add his own implementation to report the HAL error return state */
  printf("_Error_Handler %s(%d)-<%s>: \r\n",__FILE__, __LINE__, __FUNCTION__);
  while(1)
  {
  }
  /* USER CODE END Error_Handler_Debug */
}

/************************ (C) COPYRIGHT STMicroelectronics *****END OF FILE****/

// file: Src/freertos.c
/* USER CODE BEGIN Header */
/**
  ******************************************************************************
  * File Name          : freertos.c
  * Description        : Code for freertos applications
  ******************************************************************************
  * This notice applies to any and all portions of this file
  * that are not between comment pairs USER CODE BEGIN and
  * USER CODE END. Other portions of this file, whether
  * inserted by the user or by software development tools
  * are owned by their respective copyright owners.
  *
  * Copyright (c) 2019 STMicroelectronics International N.V.
  * All rights reserved.
  *
  * Redistribution and use in source and binary forms, with or without
  * modification, are permitted, provided that the following conditions are met:
  *
  * 1. Redistribution of source code must retain the above copyright notice,
  *    this list of conditions and the following disclaimer.
  * 2. Redistributions in binary form must reproduce the above copyright notice,
  *    this list of conditions and the following disclaimer in the documentation
  *    and/or other materials provided with the distribution.
  * 3. Neither the name of STMicroelectronics nor the names of other
  *    contributors to this software may be used to endorse or promote products
  *    derived from this software without specific written permission.
  * 4. This software, including modifications and/or derivative works of this
  *    software, must execute solely and exclusively on microcontroller or
  *    microprocessor devices manufactured by or for STMicroelectronics.
  * 5. Redistribution and use of this software other than as permitted under
  *    this license is void and will automatically terminate your rights under
  *    this license.
  *
  * THIS SOFTWARE IS PROVIDED BY STMICROELECTRONICS AND CONTRIBUTORS "AS IS"
  * AND ANY EXPRESS, IMPLIED OR STATUTORY WARRANTIES, INCLUDING, BUT NOT
  * LIMITED TO, THE IMPLIED WARRANTIES OF MERCHANTABILITY, FITNESS FOR A
  * PARTICULAR PURPOSE AND NON-INFRINGEMENT OF THIRD PARTY INTELLECTUAL PROPERTY
  * RIGHTS ARE DISCLAIMED TO THE FULLEST EXTENT PERMITTED BY LAW. IN NO EVENT
  * SHALL STMICROELECTRONICS OR CONTRIBUTORS BE LIABLE FOR ANY DIRECT, INDIRECT,
  * INCIDENTAL, SPECIAL, EXEMPLARY, OR CONSEQUENTIAL DAMAGES (INCLUDING, BUT NOT
  * LIMITED TO, PROCUREMENT OF SUBSTITUTE GOODS OR SERVICES; LOSS OF USE, DATA,
  * OR PROFITS; OR BUSINESS INTERRUPTION) HOWEVER CAUSED AND ON ANY THEORY OF
  * LIABILITY, WHETHER IN CONTRACT, STRICT LIABILITY, OR TORT (INCLUDING
  * NEGLIGENCE OR OTHERWISE) ARISING IN ANY WAY OUT OF THE USE OF THIS SOFTWARE,
  * EVEN IF ADVISED OF THE POSSIBILITY OF SUCH DAMAGE.
  *
  ******************************************************************************
  */
/* USER CODE END Header */

#include "FreeRTOS.h"
#include "task.h"
#include "main.h"

/* Hook prototypes */
void configureTimerForRunTimeStats(void);
unsigned long getRunTimeCounterValue(void);

/* USER CODE BEGIN 1 */
/* Functions needed when configGENERATE_RUN_TIME_STATS is on */
__weak void configureTimerForRunTimeStats(void)
{

}

__weak unsigned long getRunTimeCounterValue(void)
{
return 0;
}
/* USER CODE END 1 */

/************************ (C) COPYRIGHT STMicroelectronics *****END OF FILE****/
